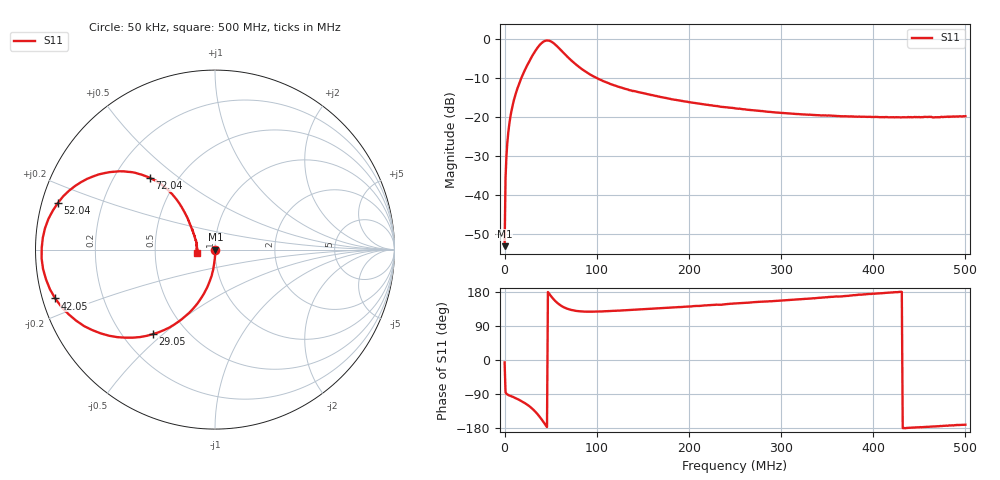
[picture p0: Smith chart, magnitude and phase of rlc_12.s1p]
# MHz S MA R 50
!  freq  S11
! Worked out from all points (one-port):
!   501 points, 50 kHz to 500 MHz, reference 50 ohm
!   lowest |S11| = -53.1 dB at 50 kHz (marker M1), VSWR 1.00, Z = 50.2 - j0.0248 ohm
!   |S11| at or under -10 dB: start of sweep to 18.09 MHz; 100.6 MHz to end of sweep
!   S11 on the Smith chart (normalised r, x): 50 kHz: 1.00, -0.00; 29.05 MHz: 0.32, -0.46; 42.05 MHz: 0.04, -0.15; 52.04 MHz: 0.05, +0.14; 72.04 MHz: 0.35, +0.40; 500 MHz: 0.81, -0.03
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0.05  0.00222 -6.4
1.0499  0.01651 -85.4
3.0497  0.0481 -90.9
4.0496  0.06394 -92.4
5.0495  0.08011 -93.6
7.0493  0.1137 -95.2
10.049  0.1646 -98.5
15.0485  0.2545 -104.2
23.0477  0.4278 -115.4
29.0471  0.5844 -126.3
33.0467  0.7007 -135.6
36.0464  0.7889 -143.7
39.0461  0.8692 -152.9
42.0458  0.9312 -163.0
47.0453  0.9655 179.5
52.0448  0.9137 163.5
57.0443  0.8137 151.0
63.0437  0.6896 140.8
72.0428  0.5405 132.3
80.042  0.4497 128.9
91.0409  0.3647 127.5
125.0375  0.2426 130.3
188.0312  0.1656 139.4
250.025  0.1301 149.1
313.0187  0.1109 158.9
375.0125  0.1023 169.6
438.0062  0.1009 -179.3
500  0.1033 -170.8
